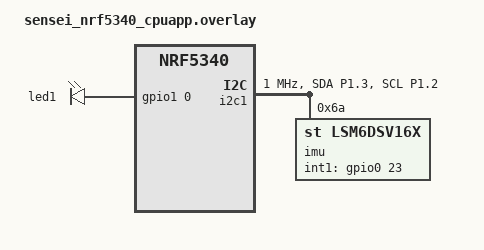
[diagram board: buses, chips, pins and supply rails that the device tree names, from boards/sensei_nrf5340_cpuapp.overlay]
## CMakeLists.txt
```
#
# Copyright (c) 2024 Nordic Semiconductor
#
# SPDX-License-Identifier: LicenseRef-Nordic-5-Clause
#

cmake_minimum_required(VERSION 3.20.0)
find_package(Zephyr REQUIRED HINTS $ENV{ZEPHYR_BASE})
project(iso_time_sync)

target_include_directories(app PRIVATE include)
target_sources(app PRIVATE src/main.c src/timed_led_toggle.c src/imu.c)

if(CONFIG_BT_CENTRAL)
  target_sources(app PRIVATE src/central.c)
endif()

if(CONFIG_BT_PERIPHERAL)
  target_sources(app PRIVATE src/peripheral.c)
endif()

if(CONFIG_SOC_COMPATIBLE_NRF52X)
  target_sources(app PRIVATE src/controller_time_nrf52.c)
elseif(CONFIG_SOC_COMPATIBLE_NRF5340_CPUAPP)
  target_sources(app PRIVATE src/controller_time_nrf53_app.c)
elseif(CONFIG_SOC_SERIES_NRF54L OR CONFIG_SOC_SERIES_NRF54H)
  target_sources(app PRIVATE src/controller_time_nrf54.c)
else()
  message(FATAL_ERROR "Unsupported series")
endif()

if(DEFINED ENV{CONN_INTERVAL_UNITS})
  set(CONN_INTERVAL_UNITS $ENV{CONN_INTERVAL_UNITS})
else()
  set(CONN_INTERVAL_UNITS 8)
endif()
target_compile_definitions(app PRIVATE CONN_INTERVAL_UNITS=${CONN_INTERVAL_UNITS})
```

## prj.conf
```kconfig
#
# Copyright (c) 2024 Nordic Semiconductor
#
# SPDX-License-Identifier: LicenseRef-Nordic-5-Clause
#

CONFIG_NCS_SAMPLES_DEFAULTS=y

CONFIG_BT_DEVICE_NAME="Conn time sync"
CONFIG_BT=y
CONFIG_BT_PERIPHERAL=y
CONFIG_BT_CENTRAL=y
CONFIG_BT_MAX_CONN=1
CONFIG_BT_CTLR_SDC_PERIPHERAL_COUNT=1
CONFIG_BT_GATT_AUTO_UPDATE_MTU=y
CONFIG_BT_L2CAP_TX_MTU=64
CONFIG_BT_BUF_ACL_RX_SIZE=69

CONFIG_BT_GATT_CLIENT=y

CONFIG_CONSOLE=y

CONFIG_BT_CTLR_SDC_CONN_ANCHOR_POINT_REPORT=y
CONFIG_BT_HCI_VS_EVT_USER=y

CONFIG_NRFX_GPPI=y

CONFIG_BOOT_BANNER=n
CONFIG_NCS_BOOT_BANNER=n
CONFIG_EARLY_CONSOLE=n
CONFIG_USE_SEGGER_RTT=y
CONFIG_LOG_BACKEND_RTT=n

CONFIG_I2C=y

#CONFIG_SENSOR=y
```

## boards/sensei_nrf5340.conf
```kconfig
CONFIG_USE_SEGGER_RTT=y
CONFIG_LOG_BACKEND_RTT=n
```

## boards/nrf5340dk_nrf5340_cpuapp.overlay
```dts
&led1 {
	gpios = <&gpio1 6 GPIO_ACTIVE_LOW>;
};
```

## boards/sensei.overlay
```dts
// LED: update port and pin from schematic
&led1 {
	gpios = <&gpio1 0 GPIO_ACTIVE_HIGH>;
};

&gpio_fwd {
	status = "disabled";
};
```

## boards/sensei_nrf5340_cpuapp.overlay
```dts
&led1 {
	gpios = <&gpio1 0 GPIO_ACTIVE_HIGH>;
};

&gpio_fwd {
	status = "disabled";
};

&i2c1 {
	status = "okay";
	compatible = "nordic,nrf-twim";
	pinctrl-0 = <&i2c1_default>;
	pinctrl-1 = <&i2c1_sleep>;
	pinctrl-names = "default", "sleep";
	clock-frequency = <1000000>;

	imu: lsm6dsv16bxtr@6a {
		compatible = "st,lsm6dsv16x";
		reg = <0x6a>;
		accel-odr = <0x0c>;
		//accel-range = (int), def: 2;
		int1-gpios = <&gpio0 23 GPIO_ACTIVE_HIGH>;
		//drdy-pin = (1 or 2);
		//drdy-pulsed = (bool);
		//fifo-watermark = (int);
		//accel-fifo-batch-rate = (int);
		//temp-fifo-batch-rate = (int);
	};
};

&pinctrl {
	i2c1_default: i2c1_default {
		group1 {
			psels = <NRF_PSEL(TWIM_SDA, 1, 3)>,
			<NRF_PSEL(TWIM_SCL, 1, 2)>;
		};
	};
	i2c1_sleep: i2c1_sleep {
		group1 {
			psels = <NRF_PSEL(TWIM_SDA, 1, 3)>,
			<NRF_PSEL(TWIM_SCL, 1, 2)>;
		};
	};
};

/ {
	rtt0: rtt-access {
		compatible = "segger,rtt-uart";
		status = "okay";
	};
	chosen {
		zephyr,console = &rtt0;
	};
};
```

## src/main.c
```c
/*
 * Copyright (c) 2024 Nordic Semiconductor ASA
 *
 * SPDX-License-Identifier: LicenseRef-Nordic-5-Clause
 */

#include <zephyr/kernel.h>
#include <SEGGER_RTT.h>
#include "conn_time_sync.h"

int main(void)
{
	char role;
	int err = imu_init();
	if(err) {
		printk("Error initializing the IMU.\n");
		return 1;
	}

	printk("Starting connection time sync sample.\n");
	printk("Choose device role - type c (central) or p (peripheral): ");

	do {

		role = SEGGER_RTT_GetKey();

		switch (role) {
		case 'p':
			printk("\nPeripheral. Starting advertising\n");
			peripheral_start();
			break;
		case 'c':
			printk("\nCentral. Starting scanning\n");
			central_start();
			break;
		default:
			k_msleep(100);
			break;
		}
	} while (role != 'c' && role != 'p');
}
```

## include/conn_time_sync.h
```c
/*
 * Copyright (c) 2024 Nordic Semiconductor ASA
 *
 * SPDX-License-Identifier: LicenseRef-Nordic-5-Clause
 */

#ifndef CONN_TIME_SYNC_H__
#define CONN_TIME_SYNC_H__

/**
 * @file
 * @defgroup conn_time_sync Definitions for the connection time sync sample.
 * @{
 * @brief Definitions for the connection time sync sample.
 *
 * This file contains common definitions and API declarations
 * used by the sample.
 */

#include <stdint.h>
#include <stdbool.h>
#include <zephyr/kernel.h>

/** @brief  Timed action service UUID */
#define BT_UUID_TIMED_ACTION_SERVICE_VAL \
	BT_UUID_128_ENCODE(0xA88278D0, 0x7009, 0x4BEE, 0xA6F8, 0xE1DC3FF02B92)
#define BT_UUID_TIMED_ACTION_SERVICE \
	BT_UUID_DECLARE_128(BT_UUID_TIMED_ACTION_SERVICE_VAL)

/** @brief Timed action characteristic UUID */
#define BT_UUID_TIMED_ACTION_CHAR_VAL \
	BT_UUID_128_ENCODE(0xA88278D1, 0x7009, 0x4BEE, 0xA6F8, 0xE1DC3FF02B92)
#define BT_UUID_TIMED_ACTION_CHAR \
	BT_UUID_DECLARE_128(BT_UUID_TIMED_ACTION_CHAR_VAL)

/** @brief Start central demo. */
void central_start(void);

/** @brief Start peripheral demo. */
void peripheral_start(void);

/** @brief The timed action message
 *
 * The timed action message represents the information
 * sent from the central to the peripheral to allow time synchronization.
 * The anchor point information is the common time reference between
 * the central and peripheral.
 *
 * This samples transmits the anchor point time and trigger time
 * in a single packet. Other applications may consider sending those
 * separately.
 */
struct timed_action {
	uint64_t anchor_point_us_central_clock;
	uint16_t anchor_point_event_counter;
	uint64_t trigger_time_us_central_clock;
	uint64_t start_rec_time_us_central_clock;
	uint64_t rec_duration_s;
	bool start_rec_time_available;
	bool led_value;
} __packed;

static inline void timed_action_print(struct timed_action *action)
{
	printk("c_anchor point (time=%llu, counter=%u), c_trigger_time %llu, value %d\n",
		action->anchor_point_us_central_clock,
		action->anchor_point_event_counter,
		action->trigger_time_us_central_clock,
		action->led_value);
}

/** @brief Obtain the current Bluetooth controller time.
 *
 * The timestamps are based upon this clock.
 *
 * @return The current controller time.
 */
uint64_t controller_time_us_get(void);

/** @brief Set the controller to trigger a PPI event at the given timestamp.
 *
 * @param timestamp_us The timestamp where it will trigger.
 */
void controller_time_trigger_set(uint64_t timestamp_us);

/** @brief Set a constant offset applied to every trigger.
 *
 * @param offset_ns The offset in nanoseconds. Positive values delay the trigger.
 */
void controller_time_trigger_offset_ns_set(int32_t offset_ns);

/** @brief Get the address of the event that will trigger.
 *
 * @return The address of the event that will trigger.
 */
uint32_t controller_time_trigger_event_addr_get(void);

/** @brief Get the address of the task that captures the RTC0 counter.
 *
 * Connect an event to this task (e.g. with nrfx_gppi) to latch the RTC0
 * counter into capture channel 1 at the moment the event happens.
 * Use together with controller_time_capture_timer_task_addr_get() on the
 * same event, so that RTC0 and TIMER0 are captured at the same instant.
 *
 * Only implemented for the nRF5340 application core (controller_time_nrf53_app.c).
 *
 * @return The address of the RTC0 CAPTURE[1] task.
 */
uint32_t controller_time_capture_rtc_task_addr_get(void);

/** @brief Get the address of the task that captures the TIMER0 counter.
 *
 * TIMER0 runs at 16 MHz and is cleared on every RTC0 tick, so the captured
 * value is the sub-tick part of the timestamp (0 to about 488 counts).
 *
 * Only implemented for the nRF5340 application core (controller_time_nrf53_app.c).
 *
 * @return The address of the TIMER0 CAPTURE[1] task.
 */
uint32_t controller_time_capture_timer_task_addr_get(void);

/** @brief Read the raw values latched by the last capture.
 *
 * Returns the values as they are in the capture registers, without
 * conversion to time and without the RTC overflow count. A new capture
 * overwrites them, so read them before the next event.
 *
 * Only implemented for the nRF5340 application core (controller_time_nrf53_app.c).
 *
 * @param rtc_ticks    Output: RTC0 counter (32768 Hz ticks, 24 bit).
 * @param timer_counts Output: TIMER0 counter (16 MHz counts since the last RTC0 tick).
 */
void controller_time_capture_get(uint32_t *rtc_ticks, uint32_t *timer_counts);

/** @brief Get the controller time of the last capture, in nanoseconds.
 *
 * Combines the RTC0 and TIMER0 values latched by the last capture event
 * (e.g. an IMU INT1 pulse) with the RTC overflow count, so the result is the
 * full controller time at which the event happened, with sub-µs resolution
 * (TIMER0 step: 62.5 ns). This is not the current time: for that use
 * controller_time_us_get().
 *
 * If the RTC overflowed between the capture and this call, the capture is
 * assigned to the previous overflow period. Call it within a few ms of the
 * event (well before the next capture and much less than the 512 s RTC period).
 *
 * Only implemented for the nRF5340 application core (controller_time_nrf53_app.c).
 *
 * @return Controller time of the last capture, in ns.
 */
uint64_t controller_time_capture_ns_get(void);

/** @brief Initialize the module handling timed toggling of an LED.
 *
 * @return 0 on success, failure otherwise.
 */
int timed_led_toggle_init(void);

/** @brief Toggle the LED using the given value at the given timestamp.
 *
 * @param value The LED value.
 * @param timestamp_us The time when the LED will be set, in microseconds.
 *                     The time is specified in controller clock units.
 */
void timed_led_toggle_trigger_at(uint8_t value, uint32_t timestamp_us);

/** @brief Initialize the IMU (LSM6DSV16BXTR) and the dataset recording work queue.
 *
 * Starts the work queue that runs the dataset recording, checks that the I2C
 * bus is ready and that WHO_AM_I matches, then configures the accelerometer
 * (CTRL3: BDU and IF_INC, CTRL8: full scale, CTRL1: ODR and operating mode,
 * written last because it powers the accelerometer on). Each written register
 * is read back to verify its content.
 *
 * Must be called before dataset_rec_schedule(), in both roles.
 *
 * @return 0 on success.
 * @return Negative error code from the I2C API if a register access fails.
 * @return 1 if the I2C bus is not ready, WHO_AM_I does not match, or a
 *         register read back does not match the written value.
 */
int imu_init(void);

/** @brief Schedule the recording of the LSM6DSV16BXTR data into RAM.
 *
 * The recording runs on the dedicated work queue started by imu_init(),
 * so it does not block the system work queue.
 *
 * @param delay Delay before the recording starts.
 * @param duration_s Duration of the recording, in seconds.
 */
void dataset_rec_schedule(k_timeout_t delay, uint64_t duration_s);

/** @brief Convert a local controller time to the central controller time.
 *
 * On the peripheral, subtracts the offset (local - central) computed at the
 * last connection anchor point from the last timed_action received. On the
 * central the offset stays 0, so the time is returned unchanged.
 *
 * @param local_ns Local controller time, in ns.
 * @return The same instant in the central controller time, in ns.
 */
uint64_t local_to_central_ns(uint64_t local_ns);

#endif

/**
 * @}
 */
```

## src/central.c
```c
/*
 * Copyright (c) 2024 Nordic Semiconductor ASA
 *
 * SPDX-License-Identifier: LicenseRef-Nordic-5-Clause
 */

#include <zephyr/sys/atomic.h>
#include <zephyr/bluetooth/bluetooth.h>
#include <zephyr/bluetooth/conn.h>
#include <zephyr/bluetooth/hci.h>
#include <bluetooth/services/nus.h>
#include "conn_time_sync.h"
#include <bluetooth/hci_vs_sdc.h>

/* Connection interval, in units of 1.25 ms (BT_LE_CONN_PARAM's own units).
 * Change only this to sweep the sync frequency; everything below derives
 * from it and stays valid for any 6 <= N <= 3200 (the spec's own bounds).
 */
//#define CONN_INTERVAL_UNITS 3200
#define CONN_INTERVAL_US    (CONN_INTERVAL_UNITS * 1250)

/* Same N, but interpreted in units of 10 ms for the supervision timeout:
 * timeout_ms = 10 * N is always 8x the interval (1.25 * N), comfortably
 * above the 2x the Bluetooth spec requires (timeout_ms > 2 * interval_ms).
 * Below N=10 that would put the timeout under the spec's own 100 ms floor
 * for this parameter (independent of the interval), so clamp it there.
 */
#define CONN_TIMEOUT_UNITS ((CONN_INTERVAL_UNITS) > 10 ? (CONN_INTERVAL_UNITS) : 10)

/* Must stay above the connection interval, otherwise the toggle command is
 * already stale by the time it reaches the peripheral (see peripheral.c's
 * "controller_time_us + 500 < trigger_time_local" check), and below
 * LED_TOGGLE_PERIOD_MS, otherwise the central re-arms its own pending
 * trigger before it ever fires.
 *
 * A pure 2x/4x-the-interval margin collapses to almost nothing at small N
 * (e.g. 7.5 ms of offset slack at N=6), which isn't enough to absorb the
 * scheduling jitter of servicing multiple simultaneous peripherals - one
 * missed connection event for that link and the command is already late.
 * The original sample's fixed values at its 10 ms default interval -
 * 50 ms offset, 120 ms period - are known to work, so floor both exactly
 * there regardless of N, and only let them grow past that (2x/4x the
 * interval) once N is large enough that the proportional value exceeds it.
 */
#define LED_TOGGLE_TIME_OFFSET_US \
	((CONN_INTERVAL_US * 2) > 50000 ? (CONN_INTERVAL_US * 2) : 50000)
#define LED_TOGGLE_PERIOD_MS \
	((CONN_INTERVAL_US * 4 / 1000) > 120 ? (CONN_INTERVAL_US * 4 / 1000) : 120)

#define ADV_NAME_STR_MAX_LEN (sizeof(CONFIG_BT_DEVICE_NAME))

// Countdown time to start the dataset collection and duration of the dataset collection
#define COUNTDOWN_TIME_MS 20000
#define REC_DURATION_S 5 

static void scan_start(void);

static bool led_value;
static uint8_t volatile conn_count;

static const struct bt_uuid *timed_char_uuid = BT_UUID_TIMED_ACTION_CHAR;

static struct {
	atomic_t last_anchor_point_in_use;
	uint16_t timed_action_char_handle;
	uint16_t last_anchor_point_event_counter;
	uint64_t last_anchor_point_timestamp;
	struct timed_action timed_action_msg;
	struct bt_gatt_discover_params discovery_params;
} conn_state[CONFIG_BT_MAX_CONN];

static void send_timestamp_to_peripheral(struct bt_conn *conn, void *data)
{
	int err;
	struct bt_conn_info conn_info;
	uint64_t toggle_time_us = *(uint64_t *)data;

	err = bt_conn_get_info(conn, &conn_info);
	if (err) {
		return;
	}

	uint8_t conn_index = bt_conn_index(conn);

	if (conn_info.state != BT_CONN_STATE_CONNECTED) {
		return;
	}

	if (conn_state[conn_index].timed_action_char_handle == 0) {
		/* Service discovery not yet complete. */
		return;
	}

	if (atomic_test_and_set_bit(&conn_state[conn_index].last_anchor_point_in_use, 0)) {
		return;
	}

	conn_state[conn_index].timed_action_msg.anchor_point_us_central_clock =
		conn_state[conn_index].last_anchor_point_timestamp;
	conn_state[conn_index].timed_action_msg.anchor_point_event_counter =
		conn_state[conn_index].last_anchor_point_event_counter;
	conn_state[conn_index].timed_action_msg.trigger_time_us_central_clock = toggle_time_us;
	conn_state[conn_index].timed_action_msg.led_value = led_value;

	atomic_clear_bit(&conn_state[conn_index].last_anchor_point_in_use, 0);

	err = bt_gatt_write_without_response(conn,
		conn_state[conn_index].timed_action_char_handle,
		&conn_state[conn_index].timed_action_msg,
		sizeof(struct timed_action),
		false);
	if (err) {
		printk("Failed writing to characteristic\n");
	} else {
		//printk("Sent to conn index %d: ", conn_index);
		//timed_action_print(&conn_state[conn_index].timed_action_msg);
	}
}

static void on_timestamp_send_timeout(struct k_work *work)
{
	uint64_t local_time_us = controller_time_us_get();
	uint64_t toggle_time_us = local_time_us + LED_TOGGLE_TIME_OFFSET_US;

	led_value = !led_value;

	timed_led_toggle_trigger_at(led_value, toggle_time_us);

	bt_conn_foreach(BT_CONN_TYPE_LE, send_timestamp_to_peripheral, &toggle_time_us);

	k_work_schedule(k_work_delayable_from_work(work), K_MSEC(LED_TOGGLE_PERIOD_MS));
}

K_WORK_DELAYABLE_DEFINE(timestamp_send_work, on_timestamp_send_timeout);

static bool adv_data_parse_cb(struct bt_data *data, void *user_data)
{
	char *name = user_data;
	uint8_t len;

	switch (data->type) {
	case BT_DATA_NAME_SHORTENED:
	case BT_DATA_NAME_COMPLETE:
		len = MIN(data->data_len, ADV_NAME_STR_MAX_LEN - 1);
		memcpy(name, data->data, len);
		name[len] = '\0';
		return false;
	default:
		return true;
	}
}

static void device_found(const bt_addr_le_t *addr, int8_t rssi, uint8_t type,
			 struct net_buf_simple *ad)
{
	char name_str[ADV_NAME_STR_MAX_LEN] = {0};
	char addr_str[BT_ADDR_LE_STR_LEN];
	int err;

	/* We're only interested in connectable events */
	if (type != BT_GAP_ADV_TYPE_ADV_IND &&
	    type != BT_GAP_ADV_TYPE_ADV_DIRECT_IND) {
		return;
	}

	bt_data_parse(ad, adv_data_parse_cb, name_str);

	if (strncmp(name_str, CONFIG_BT_DEVICE_NAME, ADV_NAME_STR_MAX_LEN) != 0) {
		return;
	}

	bt_addr_le_to_str(addr, addr_str, sizeof(addr_str));
	printk("Device found: %s (RSSI %d)\n", addr_str, rssi);

	if (bt_le_scan_stop()) {
		return;
	}

	struct bt_conn *unused_conn = NULL;

	err = bt_conn_le_create(addr, BT_CONN_LE_CREATE_CONN,
				BT_LE_CONN_PARAM(CONN_INTERVAL_UNITS, CONN_INTERVAL_UNITS, 0,
						 CONN_TIMEOUT_UNITS), &unused_conn);
	if (err) {
		printk("Create conn to %s failed (%d)\n", addr_str, err);
		scan_start();
	}

	if (unused_conn) {
		bt_conn_unref(unused_conn);
	}
}

static void scan_start(void)
{
	int err;

	err = bt_le_scan_start(BT_LE_SCAN_ACTIVE_CONTINUOUS, device_found);
	if (err) {
		printk("Scanning failed to start (err %d)\n", err);
		return;
	}

	printk("Scanning started\n");
}

static uint8_t on_service_discover(struct bt_conn *conn,
	const struct bt_gatt_attr *attr,
	struct bt_gatt_discover_params *params)
{
	if (attr) {
		uint8_t conn_index = bt_conn_index(conn);

		conn_state[conn_index].timed_action_char_handle =
			bt_gatt_attr_value_handle(attr);
		printk("Service discovery completed\n");
	} else {
		printk("Service discovery failed\n");
	}

	return BT_GATT_ITER_STOP;
}

static void connected(struct bt_conn *conn, uint8_t err)
{
	char addr[BT_ADDR_LE_STR_LEN];

	bt_addr_le_to_str(bt_conn_get_dst(conn), addr, sizeof(addr));

	if (err) {
		printk("Failed to connect to %s 0x%02x %s\n", addr, err, bt_hci_err_to_str(err));

		scan_start();
		return;
	}

	printk("Connected: %s\n", addr);

	uint8_t conn_index = bt_conn_index(conn);

	conn_state[conn_index].discovery_params.uuid = timed_char_uuid;
	conn_state[conn_index].discovery_params.func = on_service_discover;
	conn_state[conn_index].discovery_params.start_handle = BT_ATT_FIRST_ATTRIBUTE_HANDLE;
	conn_state[conn_index].discovery_params.end_handle = BT_ATT_LAST_ATTRIBUTE_HANDLE;
	conn_state[conn_index].discovery_params.type = BT_GATT_DISCOVER_CHARACTERISTIC;

	err = bt_gatt_discover(conn, &conn_state[conn_index].discovery_params);
	if (err) {
		printk("Discovery failed, %d\n", err);
	}

	const uint8_t peripheral_conn_count = 1;

	conn_count++;
	if (conn_count < CONFIG_BT_MAX_CONN - peripheral_conn_count) {
		scan_start();
	}

	// Calculate when the recording will start and schedule a work
	dataset_rec_schedule(K_MSEC(COUNTDOWN_TIME_MS), REC_DURATION_S);
	uint64_t begin_dataset_rec_time = controller_time_us_get() + COUNTDOWN_TIME_MS * 1000;
	conn_state[0].timed_action_msg.start_rec_time_us_central_clock = begin_dataset_rec_time;
	conn_state[0].timed_action_msg.rec_duration_s = REC_DURATION_S;
	conn_state[0].timed_action_msg.start_rec_time_available = true;
}

static void disconnected(struct bt_conn *conn, uint8_t reason)
{
	char addr[BT_ADDR_LE_STR_LEN];

	bt_addr_le_to_str(bt_conn_get_dst(conn), addr, sizeof(addr));

	printk("Disconnected: %s, reason 0x%02x %s\n", addr, reason, bt_hci_err_to_str(reason));

	conn_count--;

	uint8_t conn_index = bt_conn_index(conn);

	/* Reset state */
	memset(&conn_state[conn_index], 0, sizeof(conn_state[0]));

	if (conn_count == 0) {
		scan_start();
	}
}

static bool on_conn_param_req(struct bt_conn *conn, struct bt_le_conn_param *param)
{
	ARG_UNUSED(conn);
	ARG_UNUSED(param);

	return false;
}

static struct bt_conn_cb conn_callbacks = {
	.connected = connected,
	.disconnected = disconnected,
	.le_param_req = on_conn_param_req,
};

static bool on_vs_evt(struct net_buf_simple *buf)
{
	uint8_t *subevent_code;
	struct bt_conn *conn;
	sdc_hci_subevent_vs_conn_anchor_point_update_report_t *evt = NULL;

	subevent_code = net_buf_simple_pull_mem(
		buf,
		sizeof(*subevent_code));

	switch (*subevent_code) {
	case SDC_HCI_SUBEVENT_VS_CONN_ANCHOR_POINT_UPDATE_REPORT:
		evt = (void *)buf->data;
		break;
	default:
		return false;
	}

	if (!evt) {
		return false;
	}

	conn = bt_hci_conn_lookup_handle(evt->conn_handle);
	if (!conn) {
		return true;
	}

	uint8_t conn_index = bt_conn_index(conn);

	bt_conn_unref(conn);
	conn = NULL;

	if (atomic_test_and_set_bit(&conn_state[conn_index].last_anchor_point_in_use, 0)) {
		return true;
	}

	conn_state[conn_index].last_anchor_point_timestamp = evt->anchor_point_us;
	conn_state[conn_index].last_anchor_point_event_counter = evt->event_counter;

	atomic_clear_bit(&conn_state[conn_index].last_anchor_point_in_use, 0);

	return true;
}

void central_start(void)
{
	int err;

	err = bt_enable(NULL);
	if (err) {
		printk("Bluetooth init failed (err %d)\n", err);
		return;
	}

	err = bt_hci_register_vnd_evt_cb(on_vs_evt);
	if (err) {
		printk("Failed to register HCI VS callback\n");
		return;
	}

	sdc_hci_cmd_vs_conn_anchor_point_update_event_report_enable_t enable_params = {
		.enable = true
	};

	err = hci_vs_sdc_conn_anchor_point_update_event_report_enable(&enable_params);
	if (err) {
		printk("Failed to enable connection anchor point update events\n");
		return;
	}

	timed_led_toggle_init();

	bt_conn_cb_register(&conn_callbacks);
	
	conn_state[0].timed_action_msg.start_rec_time_available = false;

	scan_start();

	k_work_schedule(&timestamp_send_work, K_MSEC(LED_TOGGLE_PERIOD_MS));
}
```

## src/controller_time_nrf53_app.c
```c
/*
 * Copyright (c) 2024 Nordic Semiconductor ASA
 *
 * SPDX-License-Identifier: LicenseRef-Nordic-5-Clause
 */

/** This file implements controller time management for 53 Series devices
 *
 * As the controller clock is not directly accessible, the controller
 * time is obtained using a mirrored RTC peripheral.
 * The RTC is started upon starting the controller clock on the network core.
 * To achieve microsecond accurate toggling, a timer peripheral is also used.
 */

#include <zephyr/kernel.h>
#include <zephyr/init.h>
#include <zephyr/sys/barrier.h>
#include <helpers/nrfx_gppi.h>
#include <nrfx_rtc.h>
#include <nrfx_timer.h>
#include <hal/nrf_ipc.h>
#include <hal/nrf_egu.h>
#include <zephyr/drivers/clock_control.h>
#include <zephyr/drivers/clock_control/nrf_clock_control.h>
#include "conn_time_sync.h"

/* Keep the HFXO crystal running on the application core, so that the TIMER
 * counts with the crystal instead of the internal RC oscillator (HFINT).
 * Set to 0 to compare against the default behavior.
 */
#define USE_HFXO 1

static nrfx_rtc_t app_rtc_instance = NRFX_RTC_INSTANCE(NRF_RTC0);
static nrfx_timer_t app_timer_instance = NRFX_TIMER_INSTANCE(NRF_TIMER0);

static nrfx_gppi_handle_t ppi_on_rtc_match;
static volatile uint32_t num_rtc_overflows;

static void rtc_isr_handler(nrf_rtc_event_t event_type, void *ctx)
{
	ARG_UNUSED(ctx);

	if (event_type == NRF_RTC_EVENT_OVERFLOW) {
		num_rtc_overflows++;
	}
}

static void unused_timer_isr_handler(nrf_timer_event_t event_type, void *ctx)
{
	ARG_UNUSED(event_type);
	ARG_UNUSED(ctx);
}

static int rtc_config(void)
{
	int ret;
	nrfx_gppi_handle_t dppi_rtc_start;
	const nrfx_rtc_config_t rtc_cfg = NRFX_RTC_DEFAULT_CONFIG;

	ret = nrfx_rtc_init(&app_rtc_instance, &rtc_cfg, rtc_isr_handler);
	if (ret != 0) {
		printk("Failed initializing RTC (ret: %d)\n", ret);
		return -ENODEV;
	}

#ifndef CONFIG_SOC_SERIES_BSIM_NRFXX
	IRQ_CONNECT(NRFX_IRQ_NUMBER_GET(NRF_RTC_INST_GET(0)), IRQ_PRIO_LOWEST,
		    nrfx_rtc_irq_handler, &app_rtc_instance, 0);
#else
	IRQ_CONNECT(NRFX_IRQ_NUMBER_GET(NRF_RTC_INST_GET(0)), 0,
		    (void *)nrfx_rtc_irq_handler, &app_rtc_instance, 0);
#endif

	nrfx_rtc_overflow_enable(&app_rtc_instance, true);
	nrfx_rtc_tick_enable(&app_rtc_instance, false);
	nrfx_rtc_enable(&app_rtc_instance);

	nrf_ipc_receive_config_set(NRF_IPC, 4, NRF_IPC_CHANNEL_4);
	/* The application core RTC is started synchronously with the controller
	 * RTC using PPI over IPC.
	 */
	ret = nrfx_gppi_conn_alloc(nrfx_rtc_task_address_get(&app_rtc_instance, NRF_RTC_TASK_CLEAR),
				   nrf_ipc_event_address_get(NRF_IPC, NRF_IPC_EVENT_RECEIVE_4),
				   &dppi_rtc_start);
	if (ret < 0) {
		printk("nrfx DPPI channel alloc error for starting RTC: %d", ret);
		return ret;
	}
	nrfx_gppi_conn_enable(dppi_rtc_start);

	return 0;
}

static int timer_config(void)
{
	int ret;
	nrfx_gppi_handle_t ppi_timer_clear_on_rtc_tick;
	const nrfx_timer_config_t timer_cfg = {
		//.frequency = NRFX_MHZ_TO_HZ(1UL),
		.frequency = NRFX_MHZ_TO_HZ(16),
		.mode = NRF_TIMER_MODE_TIMER,
		//.bit_width = NRF_TIMER_BIT_WIDTH_8,
		.bit_width = NRF_TIMER_BIT_WIDTH_16,
		.interrupt_priority = NRFX_TIMER_DEFAULT_CONFIG_IRQ_PRIORITY,
		.p_context = NULL};
	uint32_t eep = nrfx_rtc_event_address_get(&app_rtc_instance, NRF_RTC_EVENT_TICK);
	uint32_t tep = nrfx_timer_task_address_get(&app_timer_instance, NRF_TIMER_TASK_CLEAR);

	ret = nrfx_timer_init(&app_timer_instance, &timer_cfg, unused_timer_isr_handler);
	if (ret != 0) {
		printk("Failed initializing timer (ret: %d)\n", ret);
		return -ENODEV;
	}

	ret = nrfx_gppi_conn_alloc(eep, tep, &ppi_timer_clear_on_rtc_tick);
	if (ret < 0) {
		printk("Failed allocating for clearing TIMER on RTC TICK\n");
		return ret;
	}

	nrfx_gppi_conn_enable(ppi_timer_clear_on_rtc_tick);
	nrfx_timer_enable(&app_timer_instance);

	return 0;
}

/** Configure the TIMER and RTC in such a way that microsecond accurate timing can be achieved.
 *
 * To get microsecond accurate toggling, we need to combine both the RTC and TIMER peripheral.
 * That is, both a RTC CC value and TIMER CC value needs to be set.
 * We should only trigger an EGU task when the TIMER CC value
 * matches after the RTC CC value matched.
 * This is achieved using a PPI group. The group is enabled when the RTC CC matches and disabled
 * again then the TIMER CC matches.
 */
int config_egu_trigger_on_rtc_and_timer_match(void)
{
	nrfx_gppi_handle_t ppi_on_timer_match;
	nrfx_gppi_group_handle_t group;
	uint32_t eep0 = nrfx_rtc_event_address_get(&app_rtc_instance, NRF_RTC_EVENT_COMPARE_0);
	uint32_t eep1 = nrfx_timer_event_address_get(&app_timer_instance, NRF_TIMER_EVENT_COMPARE0);
	uint32_t tep1 = nrf_egu_task_address_get(NRF_EGU0, NRF_EGU_TASK_TRIGGER0);
	int ret;

	ret = nrfx_gppi_group_alloc(nrfx_gppi_domain_id_get(eep0), &group);
	if (ret < 0) {
		printk("Failed allocating group\n");
		return ret;
	}

	ret = nrfx_gppi_conn_alloc(eep0, nrfx_gppi_group_task_en_addr(group), &ppi_on_rtc_match);
	if (ret < 0) {
		printk("Failed allocating for RTC match\n");
		return ret;
	}

	ret = nrfx_gppi_group_ep_add(group, eep0);
	if (ret < 0) {
		printk("Failed attaching an event to the group (ret: %d)\n", ret);
		return ret;
	}

	ret = nrfx_gppi_conn_alloc(eep1, tep1, &ppi_on_timer_match);
	if (ret < 0) {
		printk("Failed allocating for RTC match\n");
		return ret;
	}

	ret = nrfx_gppi_ep_attach(nrfx_gppi_group_task_dis_addr(group), ppi_on_timer_match);
	if (ret < 0) {
		printk("Failed attaching disable task to timer match channel (ret: %d)\n", ret);
		return ret;
	}

	ret = nrfx_gppi_group_ep_add(group, eep1);
	if (ret < 0) {
		printk("Failed attaching timer match event to the group (ret: %d)\n", ret);
		return ret;
	}

	return 0;
}

static int hfxo_start(void)
{
	int err;
	int res;
	struct onoff_manager *clk_mgr;
	struct onoff_client clk_cli;

	clk_mgr = z_nrf_clock_control_get_onoff(CLOCK_CONTROL_NRF_SUBSYS_HF);
	if (!clk_mgr) {
		printk("Unable to get the clock manager\n");
		return -ENODEV;
	}

	sys_notify_init_spinwait(&clk_cli.notify);

	err = onoff_request(clk_mgr, &clk_cli);
	if (err < 0) {
		printk("HFXO request failed (err: %d)\n", err);
		return err;
	}

	/* The request is never released, so the HFXO stays on. */
	do {
		err = sys_notify_fetch_result(&clk_cli.notify, &res);
		if (!err && res) {
			printk("HFXO could not be started (res: %d)\n", res);
			return res;
		}
	} while (err);

	return 0;
}

int controller_time_init(void)
{
	int ret;

	if (USE_HFXO) {
		ret = hfxo_start();
		if (ret) {
			return ret;
		}
	}

	ret = rtc_config();
	if (ret) {
		return ret;
	}

	ret = timer_config();
	if (ret) {
		return ret;
	}

	return config_egu_trigger_on_rtc_and_timer_match();
}

static uint64_t rtc_ticks_to_us(uint32_t rtc_ticks)
{
	const uint64_t rtc_ticks_in_femto_units = 30517578125UL;

	return (rtc_ticks * rtc_ticks_in_femto_units) / 1000000000UL;
}

uint64_t controller_time_us_get(void)
{
	/* Simply use the RTC time here.
	 * It is possible to combine RTC and TIMER information here to get a more accurate
	 * timestamp. That requires setting up a PPI channel to capture both values simultaneously.
	 */

	const uint64_t rtc_overflow_time_us = 512000000UL;

	uint32_t captured_rtc_overflows;
	uint32_t captured_rtc_ticks;

	while (true) {
		captured_rtc_overflows = num_rtc_overflows;

		/* Read out RTC ticks after reading number of overflows. */
		barrier_isync_fence_full();

		captured_rtc_ticks = nrf_rtc_counter_get(app_rtc_instance.p_reg);

		/* Read out number of overflows after reading number of RTC ticks  */
		barrier_isync_fence_full();

		if (captured_rtc_overflows == num_rtc_overflows) {
			/* There were no new overflows after reading ticks.
			 * That is, we can use the captured value.
			 */
			break;
		}
	}

	return rtc_ticks_to_us(captured_rtc_ticks) +
	       (captured_rtc_overflows * rtc_overflow_time_us);
}

static int32_t trigger_offset_ns;

void controller_time_trigger_offset_ns_set(int32_t offset_ns)
{
	trigger_offset_ns = offset_ns;
}

void controller_time_trigger_set(uint64_t timestamp_us)
{
	const uint64_t rtc_ticks_in_femto_units = 30517578125UL;

	/* Work in ns so that the sub-µs offset is not lost. */
	uint64_t timestamp_ns = timestamp_us * 1000UL + trigger_offset_ns;

	uint32_t num_overflows = timestamp_ns / 512000000000ULL;
	uint64_t remainder_ns = timestamp_ns - num_overflows * 512000000000ULL;

	uint32_t rtc_val = (remainder_ns * 1000000UL) / rtc_ticks_in_femto_units;

	/* Exact start time of the RTC tick, in ns. */
	uint64_t rtc_tick_start_ns = ((uint64_t)rtc_val * rtc_ticks_in_femto_units) / 1000000UL;

	/* TIMER runs at 16 MHz: 1 count = 62.5 ns. */
	uint16_t timer_val = ((remainder_ns - rtc_tick_start_ns) * 16UL) / 1000UL;

	/* Keep the timer value away from the edges of the RTC tick (30.52 µs = ~488 counts).
	 * The TIMER is cleared and the PPI group is enabled by two different RTC events.
	 * If the group is enabled just before the clear, a compare value close to the end
	 * of the tick would match in the previous tick and trigger one RTC tick too early.
	 */
	timer_val = MAX(timer_val, 8);   /* 0.5 µs after the RTC tick */
	timer_val = MIN(timer_val, 480); /* ~0.5 µs before the next RTC tick */

	if (nrfx_rtc_cc_set(&app_rtc_instance, 0, rtc_val, false) != 0) {
		printk("Failed setting trigger\n");
	}

	nrfx_timer_compare(&app_timer_instance, 0, timer_val, false);
	nrfx_gppi_conn_enable(ppi_on_rtc_match);
}

uint32_t controller_time_trigger_event_addr_get(void)
{
	return nrf_egu_event_address_get(NRF_EGU0, NRF_EGU_EVENT_TRIGGERED0);
}

/* Capture channel used for timestamping external events (e.g. IMU INT1).
 * Channel 0 of both RTC0 and TIMER0 is already used as compare by the trigger.
 */
#define CAPTURE_CHANNEL 1

uint32_t controller_time_capture_rtc_task_addr_get(void)
{
	return nrfx_rtc_task_address_get(&app_rtc_instance, nrf_rtc_capture_task_get(CAPTURE_CHANNEL));
}

uint32_t controller_time_capture_timer_task_addr_get(void)
{
	return nrfx_timer_capture_task_address_get(&app_timer_instance, (nrf_timer_cc_channel_t)CAPTURE_CHANNEL);
}

void controller_time_capture_get(uint32_t *rtc_ticks, uint32_t *timer_counts)
{
	*rtc_ticks = nrf_rtc_cc_get(app_rtc_instance.p_reg, CAPTURE_CHANNEL);
	*timer_counts = nrfx_timer_capture_get(&app_timer_instance, (nrf_timer_cc_channel_t)CAPTURE_CHANNEL);
}

uint64_t controller_time_capture_ns_get(void) 
{
	uint32_t rtc_ticks;
	uint32_t timer_counts;
	uint32_t ov;
	uint32_t now1;
	uint32_t now2;
	controller_time_capture_get(&rtc_ticks, &timer_counts);
	
	now1 = nrf_rtc_counter_get(app_rtc_instance.p_reg);
	ov = num_rtc_overflows;
	now2 = nrf_rtc_counter_get(app_rtc_instance.p_reg);
	barrier_isync_fence_full();

	// Protection against overflow between reading now1 and now2
	if(now1 > now2) {
		ov = num_rtc_overflows;
	}
	// Protection against overflow between the hw interrupt (PPI) and reading the now2 variable
	if (rtc_ticks > now2) {
		ov--;
	}

	/* Full controller time in ns, integer math only:
	 * - one RTC overflow period = 2^24 ticks = 512 s = 512000000000 ns;
	 * - one RTC tick = 10^9 / 32768 ns = 30517578125 fs, divided by 10^6 to get ns;
	 * - one TIMER0 count at 16 MHz = 62.5 ns = 125 / 2 ns.
	 * Each term is cast to 64 bit before the multiplication to avoid overflow.
	 */
	return (uint64_t)ov * 512000000000ULL
	       + (uint64_t)rtc_ticks * 30517578125ULL / 1000000ULL
	       + (uint64_t)timer_counts * 125ULL / 2ULL;
}

/* The controller time initialization must happen before
 * starting the network core.
 */
SYS_INIT(controller_time_init, POST_KERNEL, CONFIG_KERNEL_INIT_PRIORITY_DEFAULT);
```

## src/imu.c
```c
#include <zephyr/drivers/i2c.h>
#include <zephyr/drivers/gpio.h>
#include "conn_time_sync.h"
#include <nrfx_gpiote.h>
#include <gpiote_nrfx.h>
#include <helpers/nrfx_gppi.h>

#define WHO_AM_I_EXP_CONTENT 113
#define WHO_AM_I_REG 15                 // hex: 0x0f
#define CTRL1 16                        // hex: 0x10
#define CTRL3 18                        // hex: 0x12
#define CTRL4 19                        // hex: 0x13
#define CTRL8 23                        // hex: 0x17
#define OUTZ_L_A 40                     // hex: 0x28
#define FIFO_CTRL1 7                    // hex: 0x07
#define FIFO_CTRL2 8                    // hex: 0x08
#define FIFO_CTRL3 9                    // hex: 0x09
#define FIFO_CTRL4 10                   // hex: 0x0a
#define FIFO_STATUS1 27                 // hex: 0x1b
#define FIFO_STATUS2 28                 // hex: 0x1c
#define COUNTER_BDR_REG1 11             // hex: 0x0b
#define COUNTER_BDR_REG2 12             // hex: 0x0c
#define INT1_CTRL 13                    // hex: 0x0d
#define FIFO_DATA_OUT_TAG 120           // hex: 0x78

#define BUF_WORDS 256
#define BYTE_PER_WORD 7
#define BUF_DIM (BUF_WORDS * BYTE_PER_WORD)
#define ODR_HZ 7680
#define REC_SAMPLES (5 * ODR_HZ)
#define MARGIN 10 // Margin to add to REC_TS_DIM
#define REC_TS_DIM (REC_SAMPLES / 128 + MARGIN) // We get 1 timestamp every time the interrupt on INT1 is raised, so one every 128 sample (set in the registres)

/* GPIOTE instance that handles the INT1 pin, and INT1 as absolute pin number
 * (port * 32 + pin) as nrfx wants it. Both are taken from the devicetree.
 */
#define INT1_GPIOTE_NODE NRF_DT_GPIOTE_NODE(DT_NODELABEL(imu), int1_gpios)
#define INT1_PIN NRF_DT_GPIOS_TO_PSEL(DT_NODELABEL(imu), int1_gpios)

static struct k_work_q queue;
static uint64_t rec_duration_s;
static const struct i2c_dt_spec i2c_dev = I2C_DT_SPEC_GET(DT_NODELABEL(imu));
static const struct gpio_dt_spec int1_gpio = GPIO_DT_SPEC_GET(DT_NODELABEL(imu), int1_gpios);
static struct gpio_callback int1_cb;
static uint8_t buf[BUF_DIM];
static uint32_t saved_samples;
static uint32_t tot_samples_to_save; 
volatile int16_t rec_buf[REC_SAMPLES * 3]; // 3 is for 3 axis
volatile uint64_t rec_ts[REC_TS_DIM];
volatile uint32_t saved_ts;

K_THREAD_STACK_DEFINE(ds_t_stack, 2048);

static void read_fifo(struct k_work *work) {
    if(saved_samples >= tot_samples_to_save) return;

    if(saved_ts < REC_TS_DIM) {
        rec_ts[saved_ts++] = local_to_central_ns(controller_time_capture_ns_get());
    }

    uint8_t fifo_status[2];
    int err = i2c_burst_read_dt(&i2c_dev, FIFO_STATUS1, fifo_status, sizeof(fifo_status));
    if(err) {
        printk("Error reading the reg: 0x%02x\n", FIFO_STATUS1);
        printk("Error: %d\n", err);
        return;
    }
    uint8_t diff_fifo_mask = 1;   // mask to extract DIFF_FIFO_8
    uint16_t diff_fifo = (uint16_t)((fifo_status[1] & diff_fifo_mask) << 8 | fifo_status[0]);

    uint8_t fifo_overflow_latched_mask = 8; //mask to extract FIFO_OVR_LATCHED
    if(fifo_overflow_latched_mask & fifo_status[1]) {
        printk("FIFO overflow occurred\n");
    }

    if(diff_fifo > BUF_WORDS) {
        diff_fifo = BUF_WORDS;
    }

    if(diff_fifo == 0) {
        return;
    }

    err = i2c_burst_read_dt(&i2c_dev, FIFO_DATA_OUT_TAG, buf, diff_fifo * BYTE_PER_WORD);
    if(err) {
        printk("Error reading the reg: 0x%02x\n", FIFO_DATA_OUT_TAG);
        printk("Error: %d\n", err);
        return;
    }

    uint8_t tag;
    uint8_t acc_nc = 2; // hex: 0x02 -> accelerometer NC (non compressed), new accelerometer data
    uint8_t fifo_data_out1;
    uint8_t fifo_data_out2;
    int16_t acc_x, acc_y, acc_z;
    for(int i = 0; i < diff_fifo; ++i) {
        tag = buf[i * BYTE_PER_WORD];
        if((tag >> 3) != acc_nc) {
            continue;
        }
        fifo_data_out1 = buf[i * BYTE_PER_WORD + 1];
        fifo_data_out2 = buf[i * BYTE_PER_WORD + 2];
        acc_z = (int16_t)(fifo_data_out2 << 8 | fifo_data_out1);
        
        fifo_data_out1 = buf[i * BYTE_PER_WORD + 3];
        fifo_data_out2 = buf[i * BYTE_PER_WORD + 4];
        acc_y = (int16_t)(fifo_data_out2 << 8 | fifo_data_out1);

        fifo_data_out1 = buf[i * BYTE_PER_WORD + 5];
        fifo_data_out2 = buf[i * BYTE_PER_WORD + 6];
        acc_x = (int16_t)(fifo_data_out2 << 8 | fifo_data_out1);

        rec_buf[saved_samples * 3] = acc_x;
        rec_buf[saved_samples * 3 + 1] = acc_y;
        rec_buf[(saved_samples++) * 3 + 2] = acc_z;
        if(saved_samples >= tot_samples_to_save) {
            err = gpio_pin_interrupt_configure_dt(&int1_gpio, GPIO_INT_DISABLE);
            if(err) printk("Failed to disable the interrupt on pin %d. Error: %d\n", int1_gpio.pin, err);
            printk("-------------------------------Recording completed-------------------------------\n");
            printk("Recorded samples: %u\n", saved_samples);
            return;
        }
    }

}

K_WORK_DEFINE(read_fifo_work, read_fifo);

static void int1_cb_handler(const struct device *dev, struct gpio_callback *cb, uint32_t pins) {
    k_work_submit_to_queue(&queue, &read_fifo_work);
}

static int set_and_check_reg(uint8_t reg_add, uint8_t val_to_set) {
    uint8_t check_val;
    int err = i2c_reg_write_byte_dt(&i2c_dev, reg_add, val_to_set);
    if(err) {
        printk("Error writing the register: 0x%02x. Error: %d\n", reg_add, err);
        return err;
    }
    err = i2c_reg_read_byte_dt(&i2c_dev, reg_add, &check_val);
    if(err) {
        printk("Error reading the register: 0x%02x. Error: %d\n", reg_add, err);
        return err;
    }
    if(check_val != val_to_set) {
        printk("The value of register: 0x%02x is different from the one set. Set: %d, Read: %d\n", reg_add, val_to_set, check_val);
        return 1;
    }
    return 0;
}

/* Connect the INT1 pin to the RTC0/TIMER0 capture tasks through DPPI, so that
 * every INT1 rising edge latches the controller time in hardware (no CPU, no
 * interrupt latency):
 *
 *   GPIOTE IN event (INT1) --DPPI--> RTC0 CAPTURE[1]
 *                               \--> TIMER0 CAPTURE[1]
 *
 * NOTE: the GPIOTE channel of INT1 is owned by the Zephyr GPIO driver, not by
 * this file. The driver allocates it the first time the edge interrupt is
 * enabled, so the interrupt is enabled here once, the channel is looked up
 * with nrfx and the DPPI connection is attached to its IN event. This works
 * because in NCS 3.4.1 (zephyr/drivers/gpio/gpio_nrfx.c) GPIO_INT_DISABLE only
 * disables the trigger and does not free the channel, and re-enabling reuses
 * the same channel. While the interrupt is disabled the IN event is disabled
 * too, so captures only happen during a recording.
 * Requirement: INT1 must not be in the gpio0 "sense-edge-mask", otherwise the
 * driver uses PORT/SENSE and there is no per-pin IN event.
 *
 * Must be called before CTRL1 starts the accelerometer, so that no INT1 pulse
 * arrives while the connection is being set up.
 */
static int connect_int1_to_capture(void)
{
    nrfx_gpiote_t *gpiote = &GPIOTE_NRFX_INST_BY_NODE(INT1_GPIOTE_NODE);
    nrfx_gppi_handle_t int1_capture_ppi;
    uint8_t ch;

    /* 1. Let the GPIO driver allocate a GPIOTE channel for INT1. */
    int err = gpio_pin_interrupt_configure_dt(&int1_gpio, GPIO_INT_EDGE_RISING);
    if(err) {
        printk("Error enabling the interrupt on pin %d. Error: %d\n", int1_gpio.pin, err);
        return err;
    }

    /* 2. Check that the driver really used a GPIOTE channel (IN event), not SENSE. */
    err = nrfx_gpiote_channel_get(gpiote, INT1_PIN, &ch);
    if(err) {
        printk("INT1 has no GPIOTE channel (sense mode?), cannot capture. Error: %d\n", err);
        return err;
    }

    uint32_t int1_evt = nrfx_gpiote_in_event_address_get(gpiote, INT1_PIN);

    /* 3. INT1 IN event -> RTC0 capture. */
    err = nrfx_gppi_conn_alloc(int1_evt, controller_time_capture_rtc_task_addr_get(), &int1_capture_ppi);
    if(err) {
        printk("Error allocating the DPPI connection INT1 -> RTC capture. Error: %d\n", err);
        return err;
    }

    /* 4. Same connection -> TIMER0 capture, so both are latched at the same instant. */
    err = nrfx_gppi_ep_attach(controller_time_capture_timer_task_addr_get(), int1_capture_ppi);
    if(err) {
        printk("Error attaching TIMER capture to the INT1 DPPI connection. Error: %d\n", err);
        return err;
    }

    /* 5. Activate the connection. */
    nrfx_gppi_conn_enable(int1_capture_ppi);

    /* 6. Disable the interrupt again: dataset_rec() enables it when a recording starts.
     * The channel and the DPPI connection stay in place.
     */
    err = gpio_pin_interrupt_configure_dt(&int1_gpio, GPIO_INT_DISABLE);
    if(err) {
        printk("Error disabling the interrupt on pin %d. Error: %d\n", int1_gpio.pin, err);
        return err;
    }

    printk("INT1 (GPIOTE ch %u) connected to RTC0/TIMER0 capture\n", ch);
    return 0;
}

int imu_init(void)
{
    k_work_queue_init(&queue);
    k_work_queue_start(&queue, ds_t_stack, K_THREAD_STACK_SIZEOF(ds_t_stack), 5, NULL);
    
    if(!device_is_ready(i2c_dev.bus)) {
        printk("I2C bus %s is not ready\n", i2c_dev.bus->name);
        return 1;
    }
  
    int err = i2c_recover_bus(i2c_dev.bus);
    if(err) printk("Error recovering i2c bus\n");

    uint8_t reg_val;
    err = i2c_reg_read_byte_dt(&i2c_dev, WHO_AM_I_REG, &reg_val);
    
    if(err) {
        printk("Error in reading the WHO_AM_I register of the IMU: %d\n", err);
        return err;
    }

    if(reg_val != WHO_AM_I_EXP_CONTENT) {
        printk("Error: the value read from the WHO_AM_I register of the IMU doesn't match the expected one.\n");
        printk("Expected: 0x%02x\n", WHO_AM_I_EXP_CONTENT);
        printk("Read: 0x%02x\n", reg_val);
        return 1;
    }

    if(!gpio_is_ready_dt(&int1_gpio)) {
        printk("GPIO INT1 is not ready\n");
        return 1;
    }

    err = gpio_pin_configure_dt(&int1_gpio, GPIO_INPUT);
    if(err) {
        printk("Error configuring the pin %d for INT1\n", int1_gpio.pin);
        printk("Error: %d\n", err);
        return err;
    }

    gpio_init_callback(&int1_cb, int1_cb_handler, BIT(int1_gpio.pin));
    err = gpio_add_callback_dt(&int1_gpio, &int1_cb);
    if(err) {
        printk("Error adding the callback to the callbacks list\n");
        printk("Error: %d\n", err);
        return err;
    }

    err = connect_int1_to_capture();
    if(err) {
        return err;
    }

    uint8_t ctrl3_val = 68;     // 68 = 01000100b
    err = set_and_check_reg(CTRL3, ctrl3_val);
    if(err) {
        return err;
    }

    uint8_t ctrl4_val = 2;     // 2 = 00000010b
    err = set_and_check_reg(CTRL4, ctrl4_val);
    if(err) {
        return err;
    }

    uint8_t ctrl8_val = 0;   // 0 = ---00000b
    err = set_and_check_reg(CTRL8, ctrl8_val);
    if(err) {
        return err;
    }

    uint8_t fifo_ctrl3_val = 12;    // 12 = 00001100b 
    err = set_and_check_reg(FIFO_CTRL3, fifo_ctrl3_val);
    if(err) {
        return err;
    }

    uint8_t cnt_bdr1_val = 0;   // 0 = 00000000b
    err = set_and_check_reg(COUNTER_BDR_REG1, cnt_bdr1_val);
    if(err) {
        return err;
    }

    uint8_t cnt_bdr2_val = 128;   // 128 = 10000000b
    err = set_and_check_reg(COUNTER_BDR_REG2, cnt_bdr2_val);
    if(err) {
        return err;
    }

    uint8_t int1_ctrl_val = 64;   // 64 = 01000000b
    err = set_and_check_reg(INT1_CTRL, int1_ctrl_val);
    if(err) {
        return err;
    }

    uint8_t fifo_ctrl4_val = 6;   // 6 = 00000110b
    err = set_and_check_reg(FIFO_CTRL4, fifo_ctrl4_val);
    if(err) {
        return err;
    }

    uint8_t ctrl1_val = 12;    // 12 = 00001100b 
    err = set_and_check_reg(CTRL1, ctrl1_val);
    if(err) {
        return err;
    }

    k_msleep(100);

    uint8_t raw[2];
    err = i2c_burst_read_dt(&i2c_dev, OUTZ_L_A, raw, sizeof(raw));
    if(err) {
        printk("Error reading the data of the IMU from 0x%02x. Error: %d\n", OUTZ_L_A, err);
        return err;
    }

    int16_t read_val = (int16_t)(raw[1] << 8 | raw[0]);

    printk("Read test value from IMU: %d\n", read_val);
    printk("IMU successfully initialized!\n");
    return 0;
}

static void dataset_rec(uint64_t duration) 
{
    saved_samples = 0;
    saved_ts = 0;
    uint64_t samples_to_save = duration * ODR_HZ;
    if(samples_to_save > REC_SAMPLES) {
        printk("The duration of the recording is too long\n");
        printk("The recording will be truncated to %d samples\n", REC_SAMPLES);
        tot_samples_to_save = REC_SAMPLES;
    }
    else {
        tot_samples_to_save = samples_to_save;
    }

    int err = set_and_check_reg(FIFO_CTRL4, 0); // bypass mode: delete FIFO content (data read before recording starts)
    if(err) {
        return;
    }

    err = set_and_check_reg(FIFO_CTRL4, 6); // FIFO continuous mode: it starts again empty
    if(err) {
        return;
    }

    printk("-------------------------------Starting the recording-------------------------------\n");
    err = gpio_pin_interrupt_configure_dt(&int1_gpio, GPIO_INT_EDGE_RISING);
    if(err) {
        printk("Error in configuring the interrupt on pin: %d\n", int1_gpio.pin);
        printk("Error: %d\n", err);
        return;
    }

    return;
}

static void dataset_rec_work(struct k_work *work)
{
    (void)work;
	dataset_rec(rec_duration_s);
}
K_WORK_DELAYABLE_DEFINE(start_dataset_recording, dataset_rec_work);

void dataset_rec_schedule(k_timeout_t delay, uint64_t duration_s) 
{
    int err;
    rec_duration_s = duration_s;
    err = k_work_schedule_for_queue(&queue, &start_dataset_recording, delay);
    if(err < 0) {
        printk("Error scheduling the work for dataset recording\n");
    }
}
```
